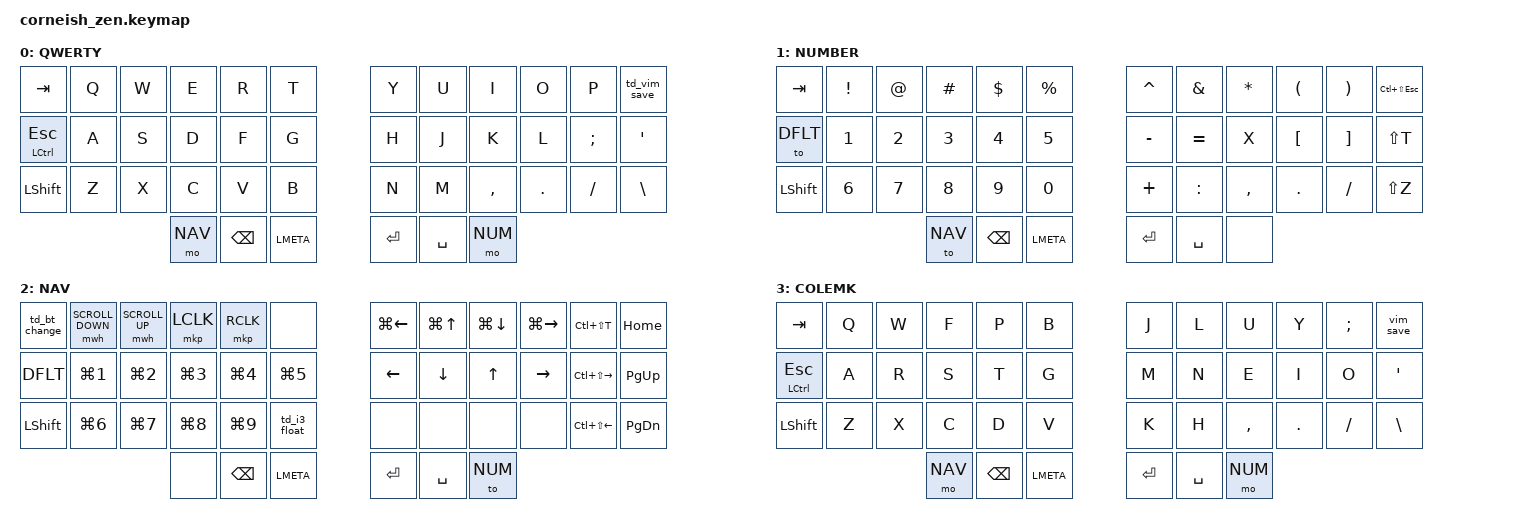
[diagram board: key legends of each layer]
#include <behaviors.dtsi>
#include <dt-bindings/zmk/keys.h>
#include <dt-bindings/zmk/bt.h>
#include <dt-bindings/zmk/mouse.h>

#define DFLT 0
#define NUM 1
#define NAV 2
#define COLEMK 3

#define COMBO(NAME, BINDINGS, KEYPOS, LAYERS) \
  combo_##NAME { \
    timeout-ms = <30>; \
    bindings = <BINDINGS>; \
    key-positions = <KEYPOS>; \
    layers = <LAYERS>; \
  };
   
#define DANCE(NAME, LABEL, BIND1, BIND2, BIND3) \
   td_##NAME: td_##NAME { \
    compatible = "zmk,behavior-tap-dance"; \
    label = LABEL; \
    #binding-cells = <0>; \
    bindings = <BIND1>, <BIND2>, <BIND3>; \
  };

/ {
  chosen {
    zmk,matrix_transform = &default_transform;
    //zmk,matrix_transform = &five_column_transform;
  };
};

/ {
  macros {
    vim_save: vim_save {
      label = "ZM_vim_save";
      compatible = "zmk,behavior-macro";
      #binding-cells = <0>;
      bindings
        = <&macro_tap &kp ESC &kp COLON &kp W &kp RET>;
    };
    macro_pound_lbrace: macro_pound_lbrace {
      label = "ZM_pound_lbrace";
      compatible = "zmk,behavior-macro";
      #binding-cells = <0>;
      bindings
        = <&macro_tap &kp POUND &kp LBRC>;
    };
    macro_ex_pipe: macro_ex_pipe {
      label = "ZM_ex_pipe";
      compatible = "zmk,behavior-macro";
      #binding-cells = <0>;
      bindings
        = <&macro_tap &kp PIPE &kp LS(DOT) &kp SPACE>;
    };
    macro_rarrow: macro_rarrow {
      label = "ZM_rarrow";
      compatible = "zmk,behavior-macro";
      #binding-cells = <0>;
      bindings
        = <&macro_tap &kp LS(COMMA) &kp MINUS &kp SPACE>;
    };
    macro_ex_map: macro_ex_map {
      label = "ZM_ex_map";
      compatible = "zmk,behavior-macro";
      #binding-cells = <0>;
      bindings
        = <&macro_tap &kp PRCNT &kp LBRC>;
    };
    macro_fat_arrow: macro_fat_arrow {
      label = "ZM_fat_arrow";
      compatible = "zmk,behavior-macro";
      #binding-cells = <0>;
      bindings
        = <&macro_tap &kp EQUAL &kp LS(DOT) &kp SPACE>;
    };
    macro_arrow: macro_arrow {
      label = "ZM_arrow";
      compatible = "zmk,behavior-macro";
      #binding-cells = <0>;
      bindings
        = <&macro_tap &kp MINUS &kp LS(DOT) &kp SPACE>;
    };
    macro_lpar_dqt: macro_lpar_dqt {
      label = "ZM_lpar_dqt";
      compatible = "zmk,behavior-macro";
      #binding-cells = <0>;
      bindings = <&macro_tap &kp LPAR &kp DQT>;
    };
    macro_dqt_rpar: macro_dqt_rpar {
      label = "ZM_dqt_rpar";
      compatible = "zmk,behavior-macro";
      #binding-cells = <0>;
      bindings = <&macro_tap &kp DQT &kp RPAR>;
    };
    macro_map_key: macro_map_key {
      label = "ZMK_map_key";
      compatible = "zmk,behavior-macro";
      #binding-cells = <0>;
      bindings = <&macro_tap &kp LBKT &kp COLON>;
    };
    macro_map_str: macro_map_str {
      label = "ZMK_map_str";
      compatible = "zmk,behavior-macro";
      #binding-cells = <0>;
      bindings = <&macro_tap &kp LBKT &kp DQT>;
    };
    macro_dqt_rbkt: macro_dqt_rbkt {
      label = "ZMK_dqt_rbkt";
      compatible = "zmk,behavior-macro";
      #binding-cells = <0>;
      bindings = <&macro_tap &kp DQT &kp RBKT>;
    };
  };
};

// bluetooth 3: linux
/ {
  behaviors {
    DANCE(i3_float, "i3_float", &none, &kp LG(LS(F)), &none)
    DANCE(bt_change, "bt_change", &bt BT_SEL 3, &bt BT_SEL 2, &bt BT_SEL 4)
    DANCE(vim_save, "vim_save", &kp LG(MINUS), &vim_save, &none)
    DANCE(lpar_dqt, "lpar_dqt", &kp LPAR, &macro_lpar_dqt, &none)
    DANCE(rpar_dqt, "rpar_dqt", &kp RPAR, &macro_dqt_rpar, &none)
    DANCE(bkt_map, "bkt_map", &macro_map_key, &macro_map_str, &kp LBKT)
    DANCE(rbkt, "rbkt", &kp RBKT, &macro_dqt_rbkt, &none)
    DANCE(n1, "n1", &kp N1, &kp EXCL, &none)
    DANCE(n2, "n2", &kp N2, &kp AT, &none)
    DANCE(n3, "n3", &kp N3, &kp HASH, &none)
    DANCE(n4, "n4", &kp N4, &kp DOLLAR, &none)
    DANCE(n5, "n5", &kp N5, &kp PRCNT, &none)
    DANCE(n6, "n6", &kp N6, &kp CARET, &none)
    DANCE(n7, "n7", &kp N7, &kp AMPS, &none)
    DANCE(n8, "n8", &kp N8, &kp STAR, &none)
    DANCE(n9, "n9", &kp N9, &kp LPAR, &none)
    DANCE(n0, "n0", &kp N0, &kp RPAR, &none)
  };
};

/ {
  combos {
    compatible = "zmk,combos";
    // Left Side
    COMBO(pound_lbrace, &macro_pound_lbrace, 26 27 28, DFLT COLEMK)
    COMBO(ex_pipe, &macro_ex_pipe, 27 28, DFLT COLEMK)
    COMBO(rarrow, &macro_rarrow, 26 27, DFLT COLEMK)
    COMBO(ex_map, &macro_ex_map, 14 15 16, DFLT COLEMK)
    COMBO(fat_arrow, &macro_fat_arrow, 15 16, DFLT COLEMK)
    COMBO(arrow, &macro_arrow, 14 15, DFLT COLEMK)
    COMBO(percent, &kp PRCNT, 16 17, DFLT COLEMK)
    COMBO(grave, &kp GRAVE, 1 2, DFLT COLEMK)
    COMBO(tilde, &kp TILDE, 1 2 3, DFLT COLEMK)
    COMBO(n1, &td_n1, 1 13, DFLT COLEMK)
    COMBO(n2, &td_n2, 2 14, DFLT COLEMK)
    COMBO(n3, &td_n3, 3 15, DFLT COLEMK)
    COMBO(n4, &td_n4, 4 16, DFLT COLEMK)
    COMBO(n5, &td_n5, 5 17, DFLT COLEMK)

    // Right Side
    COMBO(underscore, &kp UNDERSCORE, 19 20, DFLT COLEMK)
    COMBO(minus, &kp MINUS, 19 21, DFLT COLEMK)
    COMBO(equal, &kp EQUAL, 19 20 21, DFLT COLEMK)
    COMBO(lpar, &td_lpar_dqt, 19 31, DFLT COLEMK) 
    COMBO(rpar, &td_rpar_dqt, 20 32, DFLT COLEMK)
    COMBO(pound, &kp POUND, 20 21, DFLT COLEMK)
    COMBO(lbrc, &kp LBRC, 18 19, DFLT COLEMK)
    COMBO(rbrc, &kp RBRC, 18 20, DFLT COLEMK)
    COMBO(lbkt, &td_bkt_map, 30 31, DFLT COLEMK)
    COMBO(rbkt, &td_rbkt, 30 32, DFLT COLEMK)
    COMBO(at, &kp AT_SIGN, 31 32, DFLT COLEMK)
    COMBO(amp, &kp AMPS, 32 33, DFLT COLEMK)
    COMBO(plus, &kp PLUS, 31 33, DFLT COLEMK)

    COMBO(vim_lastb, &kp LC(N6), 25 26, DFLT COLEMK)
    COMBO(dquote, &kp DQT, 19 23, DFLT COLEMK)
    COMBO(kitty_title, &kp LA(LC(LS(T))), 9 10, NAV)
    COMBO(colemak, &to COLEMK, 11 23 35, DFLT)
    COMBO(qwerty, &to DFLT, 11 23 35, COLEMK)
    COMBO(n6, &td_n6, 6 18, DFLT COLEMK)
    COMBO(n7, &td_n7, 7 19, DFLT COLEMK)
    COMBO(n8, &td_n8, 8 20, DFLT COLEMK)
    COMBO(n9, &td_n9, 9 21, DFLT COLEMK)
    COMBO(n0, &td_n0, 10 22, DFLT COLEMK)
  };
};
// Key position map for combos
// -----------------------------------------------------------------
// |  0 |  1 |  2 |  3 |  4 |  5 |   |  6 |  7 |  8 |  9 | 10 | 11 |
// | 12 | 13 | 14 | 15 | 16 | 17 |   | 18 | 19 | 20 | 21 | 22 | 23 |
// | 24 | 25 | 26 | 27 | 28 | 29 |   | 30 | 31 | 32 | 33 | 34 | 35 |
//                | 36 | 37 | 38 |   | 39 | 40 | 41 |

/ {
        keymap {
                compatible = "zmk,keymap";

                default_layer {
                        label = "QWERTY";
// ----------------------------------------------------------------------------------------------------------
// | TAB        |  Q    |  W    |  E     |   R   |  T    |   |  Y    |  U    |  I    |    O  |    P  | save |
// | CTRL / ESC |  A    |  S    |  D     |   F   |  G    |   |  H    |  J    |    K  |    L  |    ;  |  '   |
// | SHFT       |  Z    |    X  |    C   |   V   |  B    |   |  N    |  M    |  ,    |  .    |  /    |  \   |
//                    |  NAV  | BSPC  | LALT  |               | ENT  | SPACE | NUM |
                        bindings = <
   &kp TAB       &kp Q   &kp W   &kp E    &kp R   &kp T       &kp Y   &kp U    &kp I  &kp O    &kp P    &td_vim_save
   &mt LCTRL ESC &kp A   &kp S   &kp D    &kp F   &kp G       &kp H   &kp J    &kp K  &kp L    &kp SEMI &kp SQT
   &kp LSHFT     &kp Z   &kp X   &kp C    &kp V   &kp B       &kp N   &kp M    &kp COMMA &kp DOT &kp FSLH &kp BSLH
                       &mo NAV   &kp BSPC   &kp LMETA             &kp RET &kp SPACE &mo NUM
                        >;
                };

                lower_layer {
                        label = "NUMBER";
// -------------------------------------------------------------------------------------
// |  TAB |  !  |  @  |  #  |  $  |  %  |   |  ^  |  &  |  *  |  (  |  )  | kitty_shell |
// | DFLT |  1  |  2  |  3  |  4  |  5  |   |  -  |  =  |  x  |  [  |  ]  |  T          |
// | SHFT |  6  |  7  |  8  |  9  |  0  |   |  +  |  :  |  ,  |  .  |  /  |  Z          |
//                    | NAV | BSPC | LALT |               | ENT  | SPACE |     |
                        bindings = <
   &kp TAB    &kp EXCL     &kp AT       &kp HASH     &kp DLLR     &kp PRCNT      &kp CARET &kp AMPS  &kp STAR  &kp LPAR &kp RPAR &kp LC(LS(ESC))
   &to DFLT   &kp N1       &kp N2       &kp N3       &kp N4       &kp N5         &kp MINUS &kp EQUAL &kp X     &kp LBKT &kp RBKT &kp LS(T)
   &kp LSHFT  &kp N6       &kp N7       &kp N8       &kp N9       &kp N0         &kp PLUS  &kp COLON &kp COMMA &kp DOT  &kp FSLH &kp LS(Z)
                          	        &to NAV      &kp BSPC &kp LMETA         &kp RET  &kp SPACE  &none
                        >;
                };

                raise_layer {
                        label = "NAV";
// ----------------------------------------------------------------------------------------
// | RESET    |      | LCLK | MCLK | RCLK |     |   | MvL | MvU | MvD | MvR | NTB  | HOME |
// | DFLT     | WS1  | WS2  | WS3  | WS4  | WS5 |   | LEFT| UP  | DWN | RGHT| NxTB | PgUP |
// | SHFT     | WS6  | WS7  | WS8  | WS9  | FLT |   |     |     |     |     | PvTB | PgDn |
//                    |     | BSPC | LALT |               | ENT  | SPACE | NUM |
                        bindings = <
   &td_bt_change  &mwh SCROLL_DOWN &mwh SCROLL_UP &mkp LCLK   &mkp RCLK     &none            &kp LG(LEFT) &kp LG(UP) &kp LG(DOWN) &kp LG(RIGHT) &kp LC(LS(T))     &kp HOME
   &kp DFLT    &kp LG(N1) &kp LG(N2) &kp LG(N3) &kp LG(N4) &kp LG(N5)    &kp LEFT     &kp DOWN   &kp UP       &kp RIGHT     &kp LC(LS(RIGHT)) &kp PG_UP
   &kp LSHFT   &kp LG(N6) &kp LG(N7) &kp LG(N8) &kp LG(N9) &td_i3_float     &none        &none      &none        &none         &kp LC(LS(LEFT))  &kp PG_DN
                    	     &none    &kp BSPC &kp LMETA                         &kp RET   &kp SPACE &to NUM 
                        >;
                };

                colemak_layer {
                        label = "COLEMK";
// --------------------------------------------------------------------------------------------
// |  TAB       |  Q  |  W  |  F   |   P  |  B  |   |  J  |  L   |  U  |  Y  |  ;  | vim_save |
// | CTRL / ESC |  A  |  R  |  S   |   T  |  G  |   |  M  |  N   |  E  |  I  |  O  |  '       |
// | SHFT       |  Z  |  X  |  C   |   D  |  V  |   |  K  |  H   |  ,  |  .  |  /  |  \       |
//                    | NAV | BSPC | LALT |               | ENT  | SPACE | NUM |
                        bindings = <
   &kp TAB       &kp Q &kp W &kp F &kp P &kp B   &kp J &kp L  &kp U     &kp Y   &kp SEMI &vim_save
   &mt LCTRL ESC &kp A &kp R &kp S &kp T &kp G   &kp M &kp N  &kp E     &kp I   &kp O    &kp SQT
   &kp LSHFT     &kp Z &kp X &kp C &kp D &kp V   &kp K &kp H  &kp COMMA &kp DOT &kp FSLH &kp BSLH
                  &mo NAV &kp BSPC &kp LMETA    &kp RET &kp SPACE &mo NUM
                        >;
                };
        };
};
